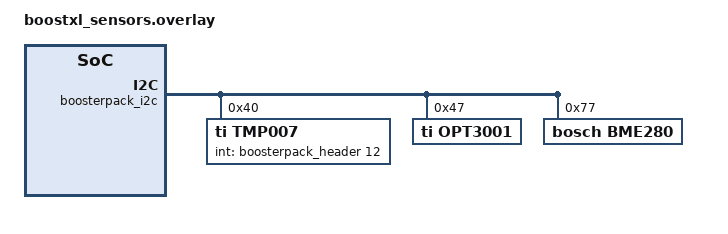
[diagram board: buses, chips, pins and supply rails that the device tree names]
/*
 * Copyright (c) 2019 Brett Witherspoon
 *
 * SPDX-License-Identifier: Apache-2.0
 */

&boosterpack_i2c {

	tmp007@40 {
		compatible = "ti,tmp007";
		reg = <0x40>;
		int-gpios = <&boosterpack_header 12 0>;
		label = "TMP007";
	};

	opt3001@47 {
		compatible = "ti,opt3001";
		reg = <0x47>;
		label = "OPT3001";
	};

	bme280@77 {
		compatible = "bosch,bme280";
		reg = <0x77>;
		label = "BME280";
	};

};
